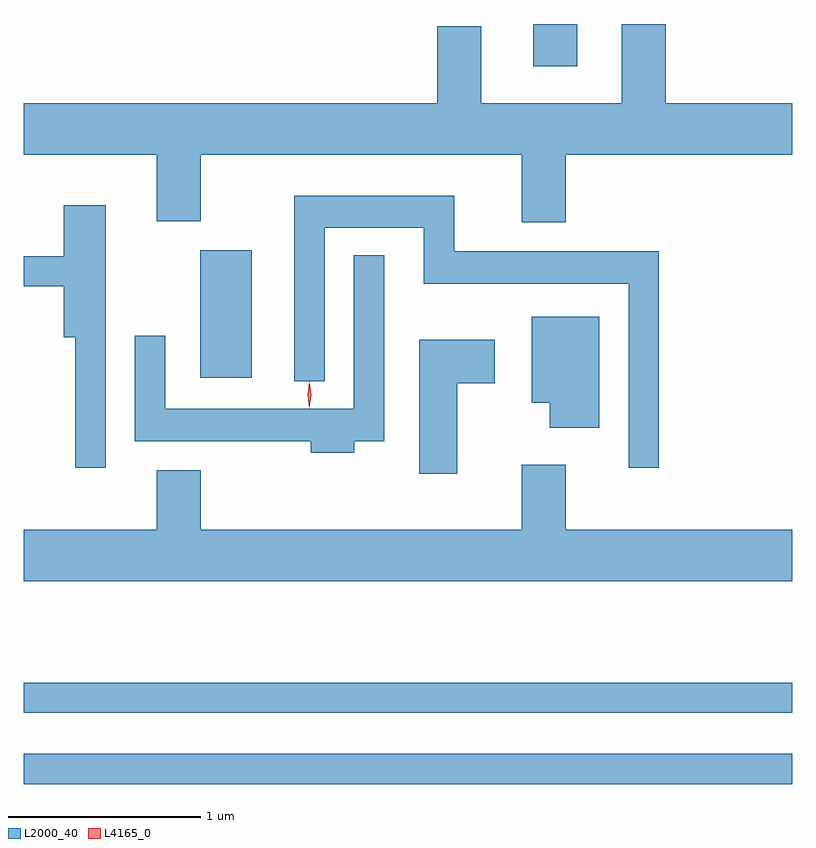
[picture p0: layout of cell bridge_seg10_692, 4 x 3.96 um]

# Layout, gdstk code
import gdstk
lib = gdstk.Library(unit=1e-6, precision=1e-09)
def R(c, l, rs):  # rectangles x0, y0, x1, y1
    for r in rs: c.add(gdstk.rectangle(r[:2], r[2:], *l))
def P(c, l, *ps):  # polygons
    for p in ps: c.add(gdstk.Polygon(p, *l))
L2000_40 = (2000, 40)
L4165_0 = (4165, 0)

bridge_seg10_692 = lib.new_cell('bridge_seg10_692')
R(bridge_seg10_692, L2000_40, [(955.458,2110.641,959.458,2110.799), (955.458,2111.011,959.458,2111.169), (956.376,2112.756,956.644,2113.419), (958.111,2114.376,958.339,2114.597)])
P(bridge_seg10_692, L2000_40, [(958.279,2113.916),(959.458,2113.916),(959.458,2114.184),(958.799,2114.184),(958.799,2114.597),(958.571,2114.597),(958.571,2114.184),(957.839,2114.184),(957.839,2114.584),(957.611,2114.584),(957.611,2114.184),(955.458,2114.184),(955.458,2113.916),(956.151,2113.916),(956.151,2113.571),(956.379,2113.571),(956.379,2113.916),(958.051,2113.916),(958.051,2113.566),(958.279,2113.566)],
  [(958.764,2113.414),(957.699,2113.414),(957.699,2113.704),(956.866,2113.704),(956.866,2112.738),(957.024,2112.738),(957.024,2113.536),(957.541,2113.536),(957.541,2113.246),(958.606,2113.246),(958.606,2112.288),(958.764,2112.288)],
  [(955.884,2113.654),(955.666,2113.654),(955.666,2113.389),(955.458,2113.389),(955.458,2113.231),(955.666,2113.231),(955.666,2112.966),(955.726,2112.966),(955.726,2112.288),(955.884,2112.288)],
  [(957.179,2112.426),(957.334,2112.426),(957.334,2113.393),(957.176,2113.393),(957.176,2112.594),(956.194,2112.594),(956.194,2112.973),(956.036,2112.973),(956.036,2112.426),(956.951,2112.426),(956.951,2112.366),(957.179,2112.366)],
  [(958.454,2113.074),(958.101,2113.074),(958.101,2112.626),(958.196,2112.626),(958.196,2112.496),(958.454,2112.496)],
  [(957.714,2112.726),(957.909,2112.726),(957.909,2112.954),(957.516,2112.954),(957.516,2112.256),(957.714,2112.256)],
  [(959.458,2111.964),(958.279,2111.964),(958.279,2112.304),(958.051,2112.304),(958.051,2111.964),(956.379,2111.964),(956.379,2112.274),(956.151,2112.274),(956.151,2111.964),(955.458,2111.964),(955.458,2111.696),(959.458,2111.696)])
P(bridge_seg10_692, L4165_0, [(956.945,2112.599),(956.944,2112.6),(956.935,2112.666),(956.944,2112.732),(956.945,2112.733),(956.945,2112.732),(956.955,2112.666),(956.945,2112.6)],
  [(956.944,2112.597),(956.935,2112.666),(956.944,2112.736),(956.945,2112.736),(956.945,2112.736),(956.955,2112.666),(956.945,2112.597),(956.945,2112.597)])

lib.write_gds('bridge_seg10_692.gds')
